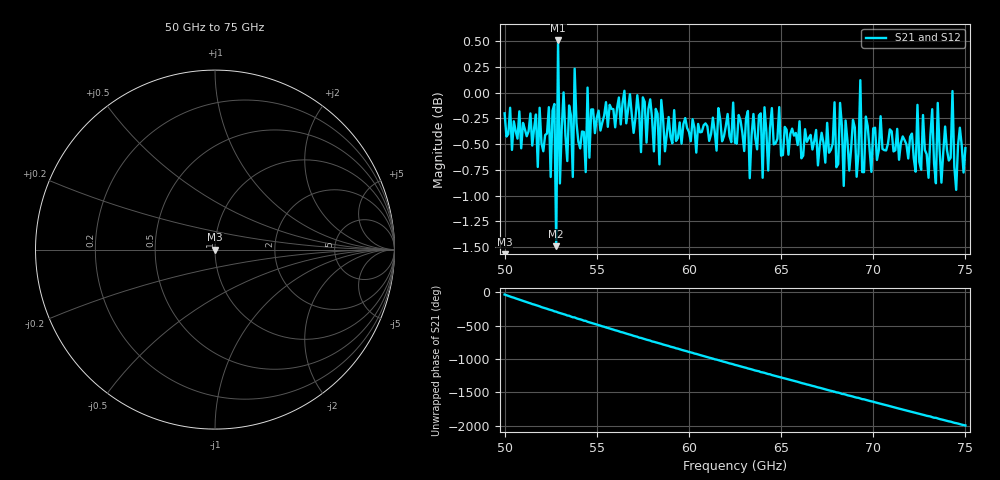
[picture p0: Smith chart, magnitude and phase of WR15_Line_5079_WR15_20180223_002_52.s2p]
# GHZ S RI R 50
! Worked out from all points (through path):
!   251 points, 50 GHz to 75 GHz, reference 50 ohm
!   highest |S21| = 0.51 dB at 52.9 GHz (marker M1); lowest = -1.5 dB at 52.8 GHz (marker M2)
!   lowest |S11| = - dB at 50 GHz (marker M3), VSWR 1.00, Z = 50 - j4.19e-15 ohm
!   |S11| at or under -10 dB: start of sweep to end of sweep
!   |S22| runs from - to - dB; largest |S21 - S12| = 2e-15
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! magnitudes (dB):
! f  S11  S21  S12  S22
! 50 GHz  -  -0.2  -0.2  -
! 51.8 GHz  -  -0.7  -0.7  -
! 52.4 GHz  -  -0.1  -0.1  -
! 52.5 GHz  -  -0.8  -0.8  -
! 52.7 GHz  -  -0.1  -0.1  -
! 52.8 GHz  -  -1.5  -1.5  -
! 52.9 GHz  -  0.5  0.5  -
! 53 GHz  -  -0.9  -0.9  -
! 53.2 GHz  -  0.0  0.0  -
! 53.7 GHz  -  -0.8  -0.8  -
! 53.8 GHz  -  0.2  0.2  -
! 54.2 GHz  -  -0.4  -0.4  -
! 57.9 GHz  -  -0.1  -0.1  -
! 58.4 GHz  -  -0.7  -0.7  -
! 58.5 GHz  -  -0.1  -0.1  -
! 62.5 GHz  -  -0.5  -0.5  -
! 66.7 GHz  -  -0.6  -0.6  -
! 69.1 GHz  -  -0.8  -0.8  -
! 69.3 GHz  -  0.1  0.1  -
! 69.4 GHz  -  -0.8  -0.8  -
! 70.9 GHz  -  -0.4  -0.4  -
! 75 GHz  -  -0.5  -0.5  -
